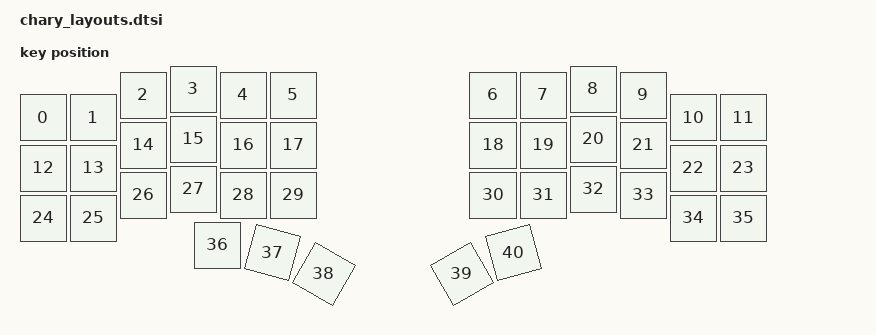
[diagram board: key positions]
#include <physical_layouts.dtsi>

/ {
    physical_layout_0: physical_layout_0 {
        compatible = "zmk,physical-layout";
        display-name = "Default Layout";
        transform = <&default_transform>;
        kscan = <&kscan0>;
        keys  //                     w   h    x    y     rot    rx    ry
            = <&key_physical_attrs 100 100    0   57       0     0     0>
            , <&key_physical_attrs 100 100  100   57       0     0     0>
            , <&key_physical_attrs 100 100  200   12       0     0     0>
            , <&key_physical_attrs 100 100  300    0       0     0     0>
            , <&key_physical_attrs 100 100  400   12       0     0     0>
            , <&key_physical_attrs 100 100  500   12       0     0     0>
            , <&key_physical_attrs 100 100  900   12       0     0     0>
            , <&key_physical_attrs 100 100 1000   12       0     0     0>
            , <&key_physical_attrs 100 100 1100    0       0     0     0>
            , <&key_physical_attrs 100 100 1200   12       0     0     0>
            , <&key_physical_attrs 100 100 1300   57       0     0     0>
            , <&key_physical_attrs 100 100 1400   57       0     0     0>
            , <&key_physical_attrs 100 100    0  158       0     0     0>
            , <&key_physical_attrs 100 100  100  158       0     0     0>
            , <&key_physical_attrs 100 100  200  112       0     0     0>
            , <&key_physical_attrs 100 100  300  100       0     0     0>
            , <&key_physical_attrs 100 100  400  112       0     0     0>
            , <&key_physical_attrs 100 100  500  112       0     0     0>
            , <&key_physical_attrs 100 100  900  112       0     0     0>
            , <&key_physical_attrs 100 100 1000  112       0     0     0>
            , <&key_physical_attrs 100 100 1100  100       0     0     0>
            , <&key_physical_attrs 100 100 1200  112       0     0     0>
            , <&key_physical_attrs 100 100 1300  158       0     0     0>
            , <&key_physical_attrs 100 100 1400  158       0     0     0>
            , <&key_physical_attrs 100 100    0  258       0     0     0>
            , <&key_physical_attrs 100 100  100  258       0     0     0>
            , <&key_physical_attrs 100 100  200  212       0     0     0>
            , <&key_physical_attrs 100 100  300  200       0     0     0>
            , <&key_physical_attrs 100 100  400  212       0     0     0>
            , <&key_physical_attrs 100 100  500  212       0     0     0>
            , <&key_physical_attrs 100 100  900  212       0     0     0>
            , <&key_physical_attrs 100 100 1000  212       0     0     0>
            , <&key_physical_attrs 100 100 1100  200       0     0     0>
            , <&key_physical_attrs 100 100 1200  212       0     0     0>
            , <&key_physical_attrs 100 100 1300  258       0     0     0>
            , <&key_physical_attrs 100 100 1400  258       0     0     0>
            , <&key_physical_attrs 100 100  348  312       0     0     0>
            , <&key_physical_attrs 100 100  348  312    1500   398   790>
            , <&key_physical_attrs 100 100  348  312    3000   398   790>
            , <&key_physical_attrs 100 100 1052  312 (-3000)  1102   790>
            , <&key_physical_attrs 100 100 1052  312 (-1500)  1102   790>
        ;
    }
};
